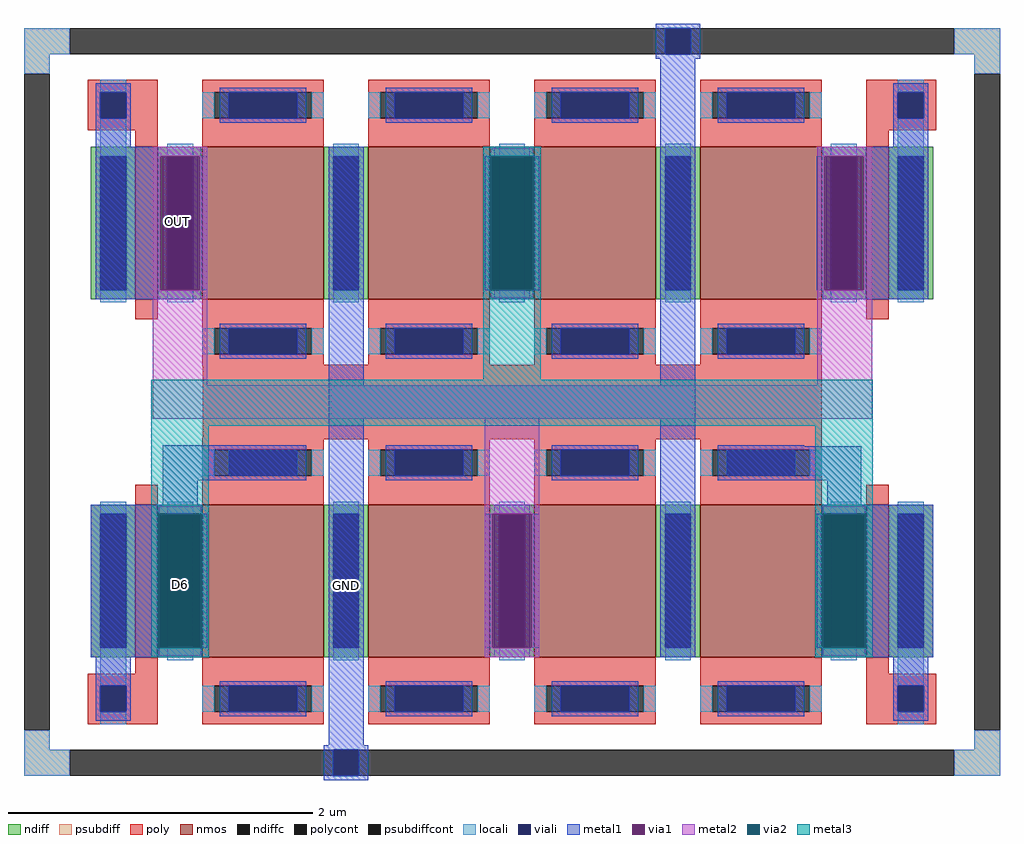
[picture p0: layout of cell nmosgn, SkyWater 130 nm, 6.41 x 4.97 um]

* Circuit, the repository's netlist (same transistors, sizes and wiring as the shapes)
** sch_path: /home/azrielshelomita/opamp/mag/nmosgn.sch
.subckt nmosgn GND D6 OUT
*.PININFO GND:B D6:B OUT:O
XM8 D6 D6 GND GND sky130_fd_pr__nfet_01v8 L=0.8 W=1 nf=1 m=4
XM9 OUT D6 GND GND sky130_fd_pr__nfet_01v8 L=0.8 W=1 nf=1 m=4
XM1 D6 D6 D6 GND sky130_fd_pr__nfet_01v8 L=0.15 W=1 nf=1 m=2
XM2 OUT OUT OUT GND sky130_fd_pr__nfet_01v8 L=0.15 W=1 nf=1 m=2
.ends
.end

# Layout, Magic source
magic
tech sky130A
magscale 1 2
<< psubdiff >>
rect -118 204 -58 238
rect 1104 204 1164 238
rect -118 178 -84 204
rect 1130 178 1164 204
rect -118 -710 -84 -684
rect 1130 -710 1164 -684
rect -118 -744 -58 -710
rect 1104 -744 1164 -710
<< psubdiffcont >>
rect -58 204 1104 238
rect -118 -684 -84 178
rect 1130 -684 1164 178
rect -58 -744 1104 -710
<< poly >>
rect -34 154 58 170
rect -34 120 -18 154
rect 16 120 58 154
rect -34 104 58 120
rect 28 93 58 104
rect 988 154 1080 170
rect 988 120 1030 154
rect 1064 120 1080 154
rect 988 104 1080 120
rect 988 92 1018 104
rect 117 -302 930 -204
rect 28 -610 58 -598
rect -34 -626 58 -610
rect -34 -660 -18 -626
rect 16 -660 58 -626
rect -34 -676 58 -660
rect 988 -610 1018 -598
rect 988 -626 1080 -610
rect 988 -660 1030 -626
rect 1064 -660 1080 -626
rect 988 -676 1080 -660
<< polycont >>
rect -18 120 16 154
rect 1030 120 1064 154
rect -18 -660 16 -626
rect 1030 -660 1064 -626
<< locali >>
rect -118 204 -58 238
rect 1104 204 1164 238
rect -118 178 -84 204
rect 1130 178 1164 204
rect -18 154 16 170
rect -18 74 16 120
rect 1030 154 1064 170
rect 1030 82 1064 120
rect -18 -626 16 -589
rect -18 -676 16 -660
rect 1030 -626 1064 -587
rect 1030 -676 1064 -660
rect -118 -710 -84 -684
rect 1130 -710 1164 -684
rect -118 -744 -58 -710
rect 1104 -744 1164 -710
<< viali >>
rect 724 204 758 238
rect -18 120 16 154
rect 1030 120 1064 154
rect -18 -660 16 -626
rect 1030 -660 1064 -626
rect 288 -744 322 -710
<< metal1 >>
rect 712 238 770 244
rect 712 204 724 238
rect 758 204 770 238
rect 712 198 770 204
rect -24 154 22 166
rect -24 120 -18 154
rect 16 120 22 154
rect -24 82 22 120
rect -24 70 114 82
rect -24 -106 61 70
rect 113 -106 123 70
rect -24 -118 114 -106
rect 282 -231 328 82
rect 487 -106 497 70
rect 549 -106 559 70
rect 718 -231 764 198
rect 1024 154 1070 166
rect 1024 120 1030 154
rect 1064 120 1070 154
rect 1024 82 1070 120
rect 931 70 1070 82
rect 923 -106 933 70
rect 985 -106 1070 70
rect 931 -118 1070 -106
rect 282 -275 764 -231
rect 64 -356 253 -310
rect 64 -388 110 -356
rect -30 -400 116 -388
rect -30 -576 61 -400
rect 113 -576 123 -400
rect -30 -588 116 -576
rect -24 -626 22 -588
rect -24 -660 -18 -626
rect 16 -660 22 -626
rect -24 -672 22 -660
rect 282 -704 328 -275
rect 487 -576 497 -400
rect 549 -576 559 -400
rect 718 -588 764 -275
rect 793 -356 982 -311
rect 937 -388 982 -356
rect 930 -400 1076 -388
rect 923 -576 933 -400
rect 985 -576 1076 -400
rect 930 -588 1076 -576
rect 1024 -626 1070 -588
rect 1024 -660 1030 -626
rect 1064 -660 1070 -626
rect 1024 -672 1070 -660
rect 276 -710 334 -704
rect 276 -744 288 -710
rect 322 -744 334 -710
rect 276 -750 334 -744
<< via1 >>
rect 61 -106 113 70
rect 497 -106 549 70
rect 933 -106 985 70
rect 61 -576 113 -400
rect 497 -576 549 -400
rect 933 -576 985 -400
<< metal2 >>
rect 51 70 123 82
rect 51 -106 61 70
rect 113 -106 123 70
rect 51 -231 123 -106
rect 495 70 551 80
rect 495 -116 551 -106
rect 924 70 996 82
rect 924 -106 933 70
rect 985 -106 996 70
rect 924 -231 996 -106
rect 51 -275 996 -231
rect 59 -400 115 -390
rect 59 -586 115 -576
rect 487 -400 559 -275
rect 487 -576 497 -400
rect 549 -576 559 -400
rect 487 -588 559 -576
rect 931 -400 987 -390
rect 931 -586 987 -576
<< via2 >>
rect 495 -106 497 70
rect 497 -106 549 70
rect 549 -106 551 70
rect 59 -576 61 -400
rect 61 -576 113 -400
rect 113 -576 115 -400
rect 931 -576 933 -400
rect 933 -576 985 -400
rect 985 -576 987 -400
<< metal3 >>
rect 485 70 561 82
rect 485 -106 495 70
rect 551 -106 561 70
rect 485 -224 561 -106
rect 49 -284 997 -224
rect 49 -400 125 -284
rect 49 -576 59 -400
rect 115 -576 125 -400
rect 49 -588 125 -576
rect 921 -400 997 -284
rect 921 -576 931 -400
rect 987 -576 997 -400
rect 921 -588 997 -576
use sky130_fd_pr__nfet_01v8_6H9P4D  sky130_fd_pr__nfet_01v8_6H9P4D_0
transform 1 0 43 0 1 -18
box -73 -126 73 126
use sky130_fd_pr__nfet_01v8_6H9P4D  sky130_fd_pr__nfet_01v8_6H9P4D_1
transform 1 0 1003 0 1 -18
box -73 -126 73 126
use sky130_fd_pr__nfet_01v8_6H9P4D  sky130_fd_pr__nfet_01v8_6H9P4D_2
transform 1 0 1003 0 1 -488
box -73 -126 73 126
use sky130_fd_pr__nfet_01v8_6H9P4D  sky130_fd_pr__nfet_01v8_6H9P4D_3
transform 1 0 43 0 1 -488
box -73 -126 73 126
use sky130_fd_pr__nfet_01v8_DXNGNZ  sky130_fd_pr__nfet_01v8_DXNGNZ_0
transform 1 0 523 0 1 -488
box -465 -188 465 188
use sky130_fd_pr__nfet_01v8_DXNGNZ  sky130_fd_pr__nfet_01v8_DXNGNZ_1
transform 1 0 523 0 1 -18
box -465 -188 465 188
<< labels >>
flabel via1 84 -16 84 -16 0 FreeSans 480 0 0 0 OUT
port 0 nsew
flabel via1 87 -493 87 -493 0 FreeSans 480 0 0 0 D6
port 1 nsew
flabel metal1 306 -494 306 -494 0 FreeSans 480 0 0 0 GND
port 2 nsew
<< end >>

# cell sky130_fd_pr__nfet_01v8_6H9P4D: kit device sky130_fd_pr__nfet_01v8, w 1 l 0.150 m 1 nf 1 diffcov 100 polycov 100 guard 0 glc 1 grc 1 gtc 1 gbc 1 tbcov 100 rlcov 100 topc 0 botc 0 poverlap 0 doverlap 1 lmin 0.15 wmin 0.42 compatible {sky130_fd_pr__nfet_01v8 sky130_fd_pr__nfet_01v8_lvt sky130_fd_bs_flash__special_sonosfet_star sky130_fd_pr__nfet_g5v0d10v5 sky130_fd_pr__nfet_05v0_nvt sky130_fd_pr__nfet_03v3_nvt} full_metal 1 viasrc 100 viadrn 100 viagate 100 viagb 0 viagr 0 viagl 0 viagt 0

# cell sky130_fd_pr__nfet_01v8_DXNGNZ: kit device sky130_fd_pr__nfet_01v8, w 1 l 0.8 m 1 nf 4 diffcov 100 polycov 100 guard 0 glc 1 grc 1 gtc 1 gbc 1 tbcov 100 rlcov 100 topc 1 botc 1 poverlap 0 doverlap 1 lmin 0.15 wmin 0.42 compatible {sky130_fd_pr__nfet_01v8 sky130_fd_pr__nfet_01v8_lvt sky130_fd_bs_flash__special_sonosfet_star sky130_fd_pr__nfet_g5v0d10v5 sky130_fd_pr__nfet_05v0_nvt sky130_fd_pr__nfet_03v3_nvt} full_metal 1 viasrc 100 viadrn 100 viagate 70 viagb 0 viagr 0 viagl 0 viagt 0
